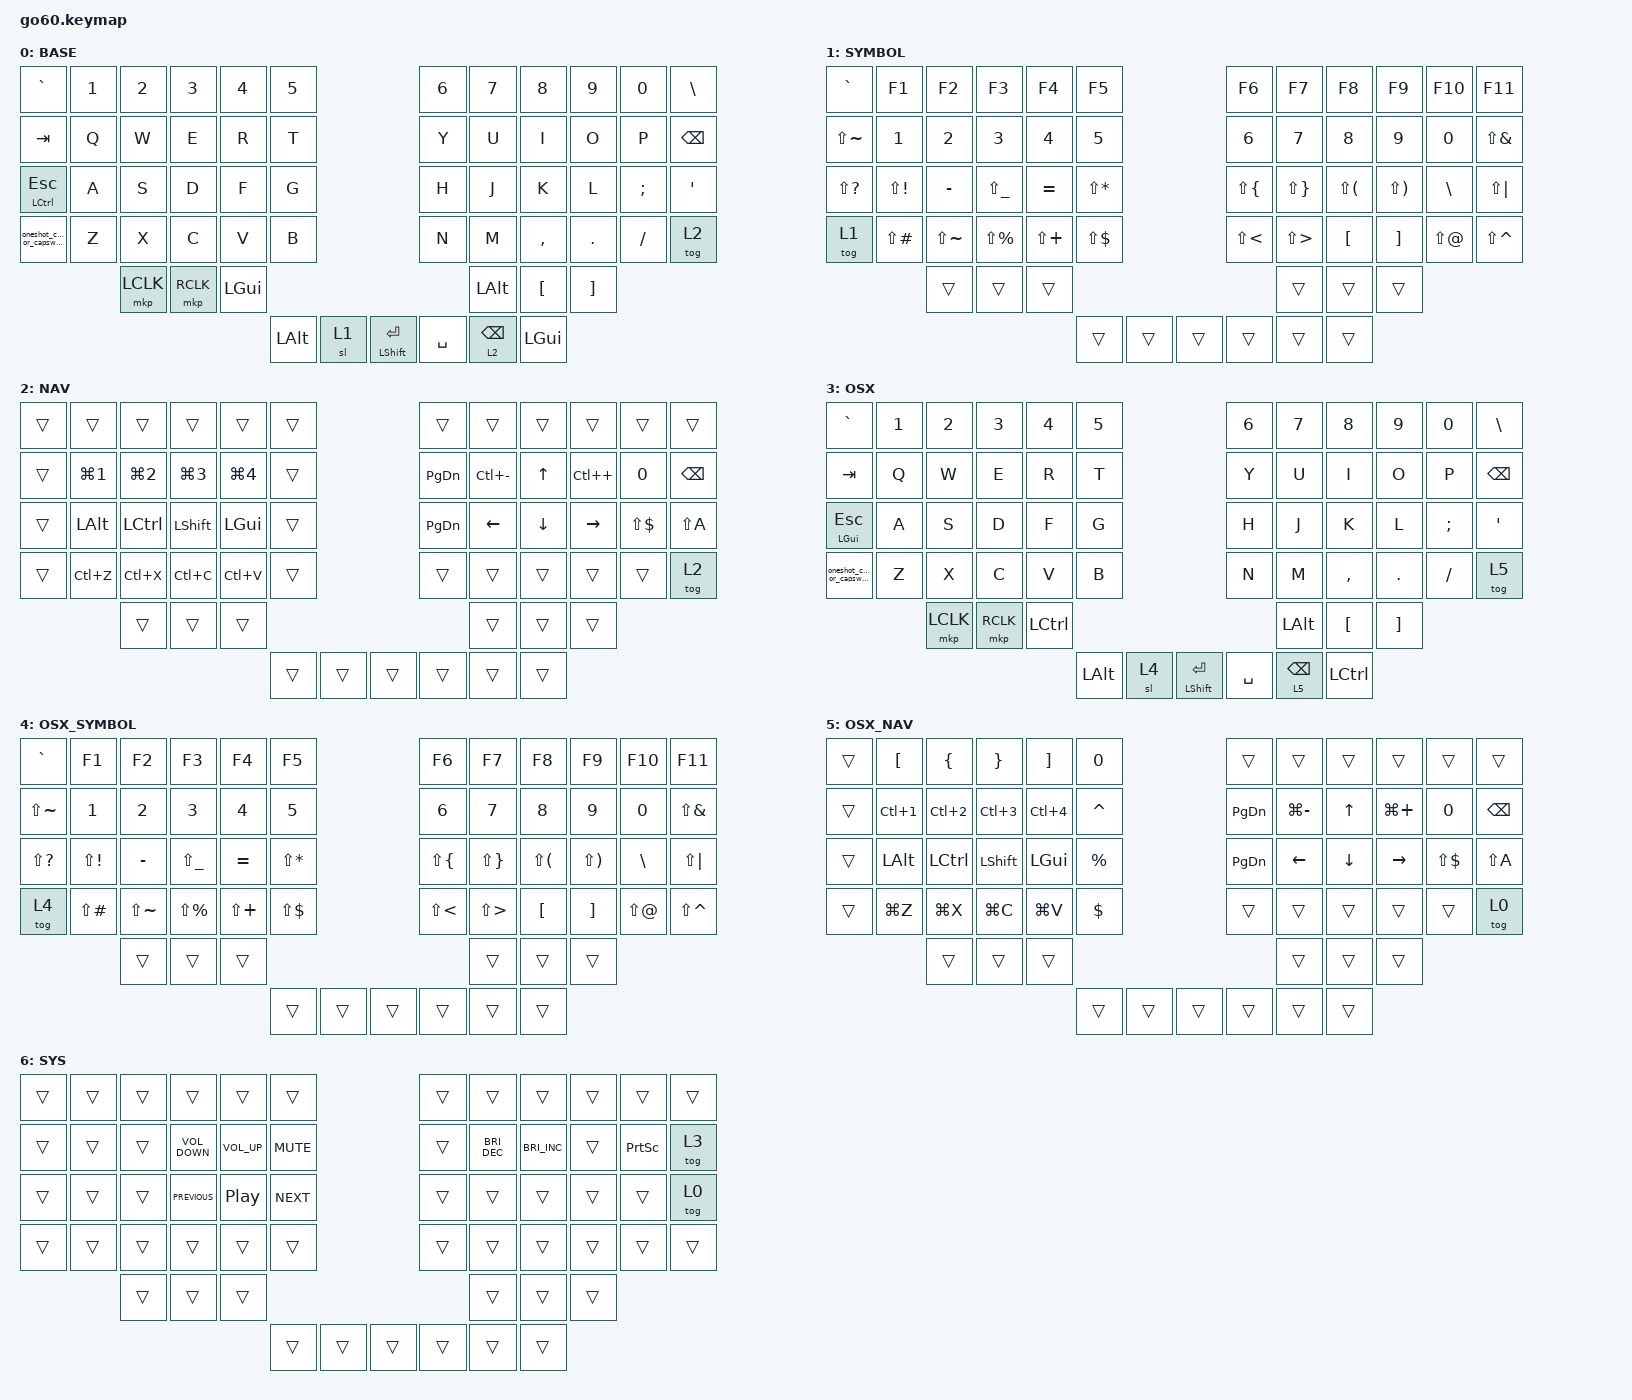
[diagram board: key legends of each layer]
/*
 * Copyright (c) 2020 The ZMK Contributors
 *
 * SPDX-License-Identifier: MIT
 */

#include <dt-bindings/zmk/input_transform.h>
#include <input/processors.dtsi>
#include <zephyr/dt-bindings/input/input-event-codes.h>
#include <behaviors.dtsi>
#include <dt-bindings/zmk/keys.h>
#include <dt-bindings/zmk/pointing.h>

// layers

#define LAYER_Base 0
#define LAYER_Keypad 1
#define LAYER_SymbolNav 2
#define LAYER_Magic 3
#define LAYER_Factory 4

/ {
    input_processors {
        zip_click_to_right_click_mapper: zip_click_to_right_click_mapper {
            compatible = "zmk,input-processor-code-mapper";
            #input-processor-cells = <0>;
            type = <INPUT_EV_KEY>;
            map = <INPUT_BTN_0 INPUT_BTN_1>;
        };
    };

    behaviors {
        oneshot_caps_or_capsword: oneshot_caps_or_capsword {
            compatible = "zmk,behavior-tap-dance";
            label = "ONESHOT_CAPS_OR_CAPSWORD";
            #binding-cells = <0>;
            bindings = <&sk LEFT_SHIFT>, <&caps_word>;
        };
    };

    combos {
        compatible = "zmk,combos";

        toggle_sys {
            bindings = <&mo 6>;
            key-positions = <55 58>;
        };
    };

    keymap {
        compatible = "zmk,keymap";

        base {
            bindings = <
&kp GRAVE                  &kp N1  &kp N2     &kp N3     &kp N4    &kp N5                                                                                   &kp N6  &kp N7    &kp N8     &kp N9    &kp N0    &kp BACKSLASH
&kp TAB                    &kp Q   &kp W      &kp E      &kp R     &kp T                                                                                    &kp Y   &kp U     &kp I      &kp O     &kp P     &kp BACKSPACE
&mt LCTRL ESCAPE           &kp A   &kp S      &kp D      &kp F     &kp G                                                                                    &kp H   &kp J     &kp K      &kp L     &kp SEMI  &kp SQT
&oneshot_caps_or_capsword  &kp Z   &kp X      &kp C      &kp V     &kp B                                                                                    &kp N   &kp M     &kp COMMA  &kp DOT   &kp FSLH  &tog 2
                                   &mkp LCLK  &mkp RCLK  &kp LGUI                                                                                                   &kp LALT  &kp LBKT   &kp RBKT
                                                                           &kp LEFT_ALT  &sl 1  &mt LEFT_SHIFT ENTER  &kp SPACE  &lt 2 BACKSPACE  &kp LGUI
            >;

            label = "BASE";
        };

        sym {
            bindings = <
&kp GRAVE      &kp F1         &kp F2         &kp F3         &kp F4        &kp F5                                                        &kp F6        &kp F7        &kp F8        &kp F9        &kp F10     &kp F11
&kp LS(TILDE)  &kp N1         &kp N2         &kp N3         &kp N4        &kp N5                                                        &kp N6        &kp N7        &kp N8        &kp N9        &kp N0      &kp LS(AMPS)
&kp LS(QMARK)  &kp LS(EXCL)   &kp MINUS      &kp LS(UNDER)  &kp EQUAL     &kp LS(STAR)                                                  &kp LS(LBRC)  &kp LS(RBRC)  &kp LS(LPAR)  &kp LS(RPAR)  &kp BSLH    &kp LS(PIPE)
&tog 1         &kp LS(POUND)  &kp LS(TILDE)  &kp LS(PRCNT)  &kp LS(PLUS)  &kp LS(DLLR)                                                  &kp LS(LT)    &kp LS(GT)    &kp LBKT      &kp RBKT      &kp LS(AT)  &kp LS(CARET)
                              &trans         &trans         &trans                                                                                    &trans        &trans        &trans
                                                                                        &trans  &trans  &trans  &trans  &trans  &trans
            >;

            label = "SYMBOL";
        };

        nav {
            bindings = <
&trans  &trans            &trans            &trans            &trans            &trans                                                  &trans         &trans         &trans    &trans        &trans        &trans
&trans  &kp LG(NUMBER_1)  &kp LG(NUMBER_2)  &kp LG(NUMBER_3)  &kp LG(NUMBER_4)  &trans                                                  &kp PAGE_DOWN  &kp LC(MINUS)  &kp UP    &kp LC(PLUS)  &kp N0        &kp BSPC
&trans  &kp LALT          &kp LCTRL         &kp LSHFT         &kp LGUI          &trans                                                  &kp PAGE_DOWN  &kp LEFT       &kp DOWN  &kp RIGHT     &kp LS(DLLR)  &kp LS(A)
&trans  &kp LC(Z)         &kp LC(X)         &kp LC(C)         &kp LC(V)         &trans                                                  &trans         &trans         &trans    &trans        &trans        &tog 2
                          &trans            &trans            &trans                                                                                   &trans         &trans    &trans
                                                                                        &trans  &trans  &trans  &trans  &trans  &trans
            >;

            label = "NAV";
        };

        osx_base {
            bindings = <
&kp GRAVE                  &kp N1  &kp N2     &kp N3     &kp N4     &kp N5                                                                                    &kp N6  &kp N7    &kp N8     &kp N9    &kp N0    &kp BACKSLASH
&kp TAB                    &kp Q   &kp W      &kp E      &kp R      &kp T                                                                                     &kp Y   &kp U     &kp I      &kp O     &kp P     &kp BACKSPACE
&mt LGUI ESCAPE            &kp A   &kp S      &kp D      &kp F      &kp G                                                                                     &kp H   &kp J     &kp K      &kp L     &kp SEMI  &kp SQT
&oneshot_caps_or_capsword  &kp Z   &kp X      &kp C      &kp V      &kp B                                                                                     &kp N   &kp M     &kp COMMA  &kp DOT   &kp FSLH  &tog 5
                                   &mkp LCLK  &mkp RCLK  &kp LCTRL                                                                                                    &kp LALT  &kp LBKT   &kp RBKT
                                                                            &kp LEFT_ALT  &sl 4  &mt LEFT_SHIFT ENTER  &kp SPACE  &lt 5 BACKSPACE  &kp LCTRL
            >;

            label = "OSX";
        };

        osx_sym {
            bindings = <
&kp GRAVE      &kp F1         &kp F2         &kp F3         &kp F4        &kp F5                                                        &kp F6        &kp F7        &kp F8        &kp F9        &kp F10     &kp F11
&kp LS(TILDE)  &kp N1         &kp N2         &kp N3         &kp N4        &kp N5                                                        &kp N6        &kp N7        &kp N8        &kp N9        &kp N0      &kp LS(AMPS)
&kp LS(QMARK)  &kp LS(EXCL)   &kp MINUS      &kp LS(UNDER)  &kp EQUAL     &kp LS(STAR)                                                  &kp LS(LBRC)  &kp LS(RBRC)  &kp LS(LPAR)  &kp LS(RPAR)  &kp BSLH    &kp LS(PIPE)
&tog 4         &kp LS(POUND)  &kp LS(TILDE)  &kp LS(PRCNT)  &kp LS(PLUS)  &kp LS(DLLR)                                                  &kp LS(LT)    &kp LS(GT)    &kp LBKT      &kp RBKT      &kp LS(AT)  &kp LS(CARET)
                              &trans         &trans         &trans                                                                                    &trans        &trans        &trans
                                                                                        &trans  &trans  &trans  &trans  &trans  &trans
            >;

            label = "OSX_SYMBOL";
        };

        osx_nav {
            bindings = <
&trans  &kp LEFT_BRACKET  &kp LEFT_BRACE    &kp RIGHT_BRACE   &kp RIGHT_BRACKET  &kp N0                                                       &trans         &trans         &trans    &trans        &trans        &trans
&trans  &kp LC(NUMBER_1)  &kp LC(NUMBER_2)  &kp LC(NUMBER_3)  &kp LC(NUMBER_4)   &kp CARET                                                    &kp PAGE_DOWN  &kp LG(MINUS)  &kp UP    &kp LG(PLUS)  &kp N0        &kp BSPC
&trans  &kp LALT          &kp LCTRL         &kp LSHFT         &kp LGUI           &kp PERCENT                                                  &kp PAGE_DOWN  &kp LEFT       &kp DOWN  &kp RIGHT     &kp LS(DLLR)  &kp LS(A)
&trans  &kp LG(Z)         &kp LG(X)         &kp LG(C)         &kp LG(V)          &kp DOLLAR                                                   &trans         &trans         &trans    &trans        &trans        &tog 0
                          &trans            &trans            &trans                                                                                         &trans         &trans    &trans
                                                                                              &trans  &trans  &trans  &trans  &trans  &trans
            >;

            label = "OSX_NAV";
        };

        sys {
            bindings = <
&trans  &trans  &trans  &trans             &trans            &trans                                                      &trans  &trans                &trans                &trans  &trans           &trans
&trans  &trans  &trans  &kp C_VOLUME_DOWN  &kp C_VOLUME_UP   &kp C_MUTE                                                  &trans  &kp C_BRIGHTNESS_DEC  &kp C_BRIGHTNESS_INC  &trans  &kp PRINTSCREEN  &tog 3
&trans  &trans  &trans  &kp C_PREVIOUS     &kp C_PLAY_PAUSE  &kp C_NEXT                                                  &trans  &trans                &trans                &trans  &trans           &tog 0
&trans  &trans  &trans  &trans             &trans            &trans                                                      &trans  &trans                &trans                &trans  &trans           &trans
                &trans  &trans             &trans                                                                                &trans                &trans                &trans
                                                                         &trans  &trans  &trans  &trans  &trans  &trans
            >;

            label = "SYS";
        };
    };
};

&cirque_rh_listener {
    input-processors = <&zip_xy_scaler 3 1>;

    layer_2 {
        layers = <2>;
        input-processors = <&zip_xy_scaler 9 1>;
    };
};

&cirque_lh_listener {
    input-processors =
        <&zip_xy_to_scroll_mapper>,
        <&zip_xy_scaler 1 8>,
        <&zip_click_to_right_click_mapper>;

    layer_4 {
        layers = <4>;
        input-processors = <&zip_xy_scaler 3 1>;
    };
};
